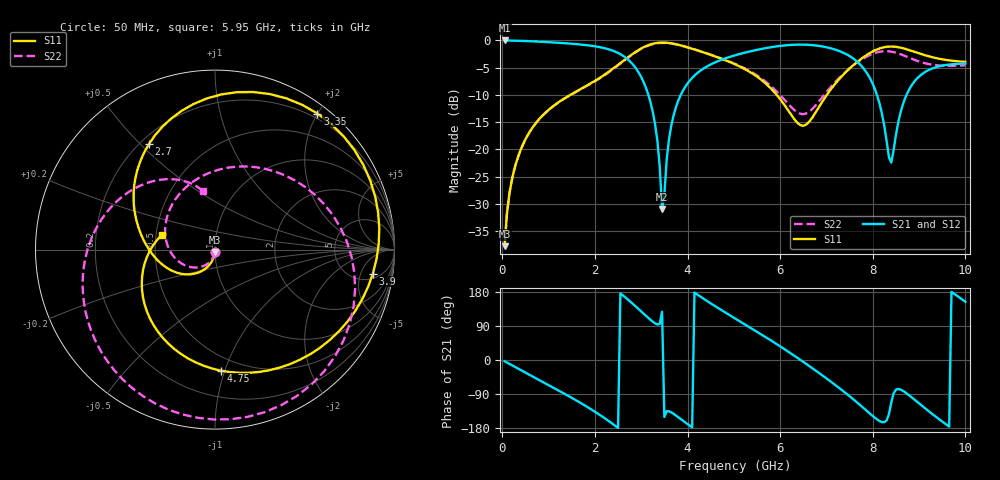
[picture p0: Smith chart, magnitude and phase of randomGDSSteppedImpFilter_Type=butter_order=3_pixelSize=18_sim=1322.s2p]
! freq	dB(S11)	phase(S11)	dB(S12)	phase(S12)
!  dB(S21)	phase(S21)	dB(S22)	phase(S22)
!S-par simulation data
#  GHz  S  DB  R 50
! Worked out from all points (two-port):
!   200 points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, 50 MHz to 10 GHz, reference 50 ohm
!   highest |S21| = -0.01 dB at 50 MHz (marker M1); lowest = -30.9 dB at 3.45 GHz (marker M2)
!   |S21| within 3 dB of the highest: start of sweep to 2.639 GHz; 4.918 GHz to 7.524 GHz (2.606 GHz wide, 41.9 % of centre)
!   lowest |S11| = -37.7 dB at 50 MHz (marker M3), VSWR 1.03, Z = 49.9 - j1.3 ohm
!   |S11| at or under -10 dB: start of sweep to 1.468 GHz; 5.927 GHz to 7.007 GHz (1.08 GHz wide, 16.7 % of centre)
!   |S22| runs from -37.7 to -0.5 dB; largest |S21 - S12| = 0
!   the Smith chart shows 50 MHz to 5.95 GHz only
!   S11 on the Smith chart (normalised r, x): 50 MHz: 1.00, -0.03; 2.7 GHz: 0.23, +0.53; 3.35 GHz: 0.13, +2.00; 3.9 GHz: 6, -8; 4.75 GHz: 0.39, -0.97; 5.95 GHz: 0.54, +0.10
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0.05  -37.73 -91.8  -0.01 -3.4  -0.01 -3.4  -37.74 -93.0
0.2  -25.86 -101.1  -0.03 -13.3  -0.03 -13.3  -25.88 -105.4
0.5  -18.15 -117.9  -0.11 -33.0  -0.11 -33.0  -18.18 -129.0
1.15  -11.73 -151.8  -0.40 -76.0  -0.40 -76.0  -11.77 178.4
1.75  -8.66 179.6  -0.80 -117.6  -0.80 -117.6  -8.73 123.5
2.7  -3.18 122.1  -3.41 160.9  -3.41 160.9  -3.29 16.1
3.05  -1.25 87.6  -7.61 122.5  -7.61 122.5  -1.34 -28.9
3.35  -0.46 53.0  -18.51 93.8  -18.51 93.8  -0.52 -67.0
3.4  -0.42 47.1  -23.16 95.4  -23.16 95.4  -0.47 -73.0
3.45  -0.40 41.3  -30.94 127.4  -30.94 127.4  -0.45 -78.9
3.65  -0.54 18.3  -15.58 -138.3  -15.58 -138.3  -0.57 -101.1
3.9  -1.02 -8.7  -9.23 -160.1  -9.23 -160.1  -1.03 -125.3
4.75  -3.42 -87.3  -3.49 130.3  -3.49 130.3  -3.37 171.5
5.05  -4.47 -112.4  -2.67 108.0  -2.67 108.0  -4.38 152.3
5.95  -10.23 164.7  -1.06 40.0  -1.06 40.0  -9.60 101.6
6.7  -14.08 20.2  -0.87 -22.1  -0.87 -22.1  -12.53 107.4
7.55  -4.76 -77.0  -3.15 -100.6  -3.15 -100.6  -4.78 45.9
8  -2.02 -115.5  -7.99 -147.8  -7.99 -147.8  -2.45 -19.3
8.35  -1.13 -147.5  -21.47 -142.6  -21.47 -142.6  -2.00 -81.7
8.9  -2.09 168.2  -7.53 -104.7  -7.53 -104.7  -3.56 176.4
9.35  -3.21 139.6  -4.96 -148.7  -4.96 -148.7  -4.53 105.3
10  -3.94 93.4  -4.25 153.8  -4.25 153.8  -4.57 31.8
